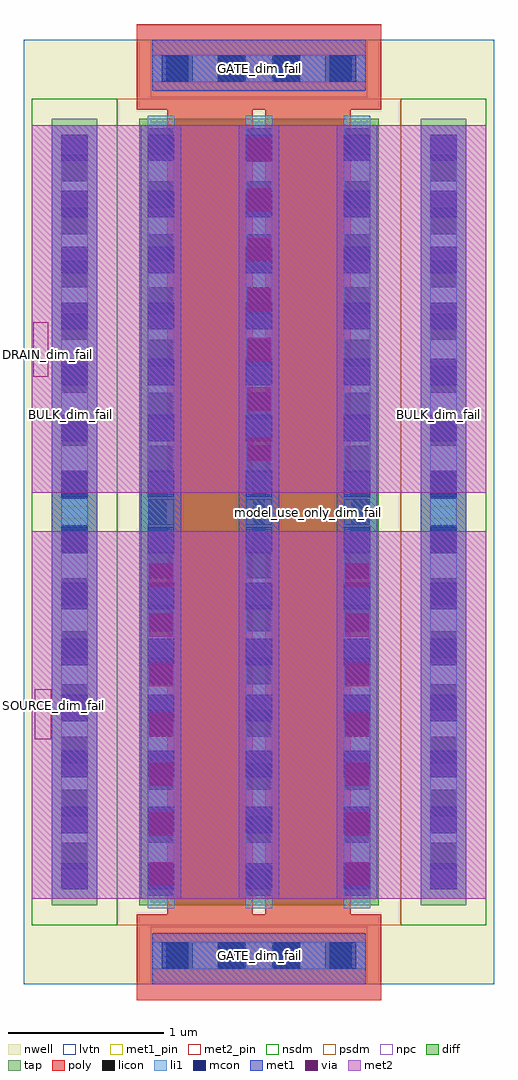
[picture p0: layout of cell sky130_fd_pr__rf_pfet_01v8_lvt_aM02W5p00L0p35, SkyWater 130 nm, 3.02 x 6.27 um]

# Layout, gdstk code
import gdstk
lib = gdstk.Library(unit=1e-6, precision=1e-09)
def R(c, l, rs):  # rectangles x0, y0, x1, y1
    for r in rs: c.add(gdstk.rectangle(r[:2], r[2:], *l))
def A(c, l, x, y, w, h, nx, ny, dx, dy):  # array of equal rectangles
    R(c, l, [(x+i*dx, y+j*dy, x+i*dx+w, y+j*dy+h) for i in range(nx) for j in range(ny)])
def P(c, l, *ps):  # polygons
    for p in ps: c.add(gdstk.Polygon(p, *l))
nwell = (64, 20)
diff = (65, 20)
tap = (65, 44)
poly = (66, 20)
licon = (66, 44)
li1 = (67, 20)
mcon = (67, 44)
met1_pin = (68, 16)
met1 = (68, 20)
via = (68, 44)
met2_pin = (69, 16)
met2 = (69, 20)
nsdm = (93, 44)
psdm = (94, 20)
npc = (95, 20)
lvtn = (125, 44)

sky130_fd_pr__rf_pfet_01 = lib.new_cell('sky130_fd_pr__rf_pfet_01v8_lvt_aM02W5p00L0p35')
R(sky130_fd_pr__rf_pfet_01, nwell, [(0,0,3.02,6.07)])
R(sky130_fd_pr__rf_pfet_01, diff, [(0.74,0.51,2.28,5.56)])
R(sky130_fd_pr__rf_pfet_01, tap, [(0.18,0.51,0.47,5.56), (2.55,0.51,2.84,5.56)])
P(sky130_fd_pr__rf_pfet_01, poly, [(0.725,-0.1),(0.725,0.45),(0.92,0.45),(0.92,5.62),(1.47,5.62),(1.47,0.45),(1.55,0.45),(1.55,5.62),(0.725,5.62),(0.725,6.17),(2.295,6.17),(2.295,5.62),(2.1,5.62),(2.1,0.45),(2.295,0.45),(2.295,-0.1)])
A(sky130_fd_pr__rf_pfet_01, licon, 0.915, 0.1, 0.17, 0.17, 4, 2, 0.34, 5.7)
A(sky130_fd_pr__rf_pfet_01, licon, 0.795, 0.57, 0.17, 0.17, 3, 15, 0.63, 0.34)
A(sky130_fd_pr__rf_pfet_01, licon, 0.24, 0.74, 0.17, 0.17, 1, 14, 0, 0.34)
A(sky130_fd_pr__rf_pfet_01, licon, 2.61, 0.74, 0.17, 0.17, 1, 14, 0, 0.34)
A(sky130_fd_pr__rf_pfet_01, li1, 0.795, 0.49, 0.17, 5.09, 3, 1, 0.63, 0)
A(sky130_fd_pr__rf_pfet_01, li1, 0.795, 1.69, 0.17, 2.69, 3, 1, 0.63, 0)
R(sky130_fd_pr__rf_pfet_01, li1, [(0.825,0.1,2.195,0.27), (0.24,0.61,0.41,5.46), (2.61,0.61,2.78,5.46), (0.24,0.66,0.41,5.41), (2.61,0.66,2.78,5.41), (0.24,1.68,0.41,4.39), (2.61,1.68,2.78,4.39), (0.825,5.8,2.195,5.97)])
A(sky130_fd_pr__rf_pfet_01, mcon, 0.885, 0.1, 0.17, 0.17, 4, 2, 0.36, 5.7)
A(sky130_fd_pr__rf_pfet_01, mcon, 0.24, 0.61, 0.17, 0.17, 1, 14, 0, 0.36)
A(sky130_fd_pr__rf_pfet_01, mcon, 0.795, 0.61, 0.17, 0.17, 3, 14, 0.63, 0.36)
A(sky130_fd_pr__rf_pfet_01, mcon, 2.61, 0.61, 0.17, 0.17, 1, 14, 0, 0.36)
R(sky130_fd_pr__rf_pfet_01, met1_pin, [(0.825,0,2.195,0.33), (0.245,2.99,0.415,3.07), (2.605,2.99,2.775,3.07), (0.825,5.74,2.195,6.07)])
A(sky130_fd_pr__rf_pfet_01, met1, 0.75, 0.55, 0.26, 4.97, 3, 1, 0.63, 0)
R(sky130_fd_pr__rf_pfet_01, met1, [(0.825,0,2.195,0.33), (0.18,0.55,0.47,5.52), (0.75,0.55,1.01,2.79), (2.01,0.55,2.27,2.79), (2.55,0.55,2.84,5.52), (1.38,3.28,1.64,5.52), (0.825,5.74,2.195,6.07)])
A(sky130_fd_pr__rf_pfet_01, via, 0.805, 0.635, 0.15, 0.15, 1, 7, 0, 0.32)
A(sky130_fd_pr__rf_pfet_01, via, 2.065, 0.635, 0.15, 0.15, 1, 7, 0, 0.32)
A(sky130_fd_pr__rf_pfet_01, via, 1.435, 3.365, 0.15, 0.15, 1, 7, 0, 0.32)
R(sky130_fd_pr__rf_pfet_01, met2_pin, [(0.07,1.575,0.175,1.895), (0.06,3.905,0.155,4.255)])
R(sky130_fd_pr__rf_pfet_01, met2, [(0.05,0.55,2.97,2.91), (0.75,0.55,1.01,2.79), (2.01,0.55,2.27,2.79), (0.05,3.16,2.97,5.52), (1.38,3.28,1.64,5.52)])
R(sky130_fd_pr__rf_pfet_01, nsdm, [(0.05,0.38,0.6,5.69), (2.42,0.38,2.97,5.69)])
R(sky130_fd_pr__rf_pfet_01, psdm, [(0.6,0.38,2.42,5.69)])
R(sky130_fd_pr__rf_pfet_01, npc, [(0.815,0,2.205,0.37), (0.815,5.7,2.205,6.07)])
R(sky130_fd_pr__rf_pfet_01, lvtn, [(0,0,3.02,6.07)])
sky130_fd_pr__rf_pfet_01.add(gdstk.Label('model_use_only_dim_fail', (1.825,3.03), layer=66, texttype=83))
sky130_fd_pr__rf_pfet_01.add(gdstk.Label('model_use_only_dim_fail', (1.195,3.03), layer=66, texttype=83))
sky130_fd_pr__rf_pfet_01.add(gdstk.Label('DRAIN_dim_fail', (0.14,4.05), layer=69, texttype=5))
sky130_fd_pr__rf_pfet_01.add(gdstk.Label('SOURCE_dim_fail', (0.175,1.795), layer=69, texttype=5))
sky130_fd_pr__rf_pfet_01.add(gdstk.Label('GATE_dim_fail', (1.51,0.185), layer=68, texttype=5))
sky130_fd_pr__rf_pfet_01.add(gdstk.Label('GATE_dim_fail', (1.51,5.885), layer=68, texttype=5))
sky130_fd_pr__rf_pfet_01.add(gdstk.Label('BULK_dim_fail', (0.3,3.66), layer=68, texttype=5))
sky130_fd_pr__rf_pfet_01.add(gdstk.Label('BULK_dim_fail', (2.66,3.66), layer=68, texttype=5))

lib.write_gds('sky130_fd_pr__rf_pfet_01v8_lvt_aM02W5p00L0p35.gds')
